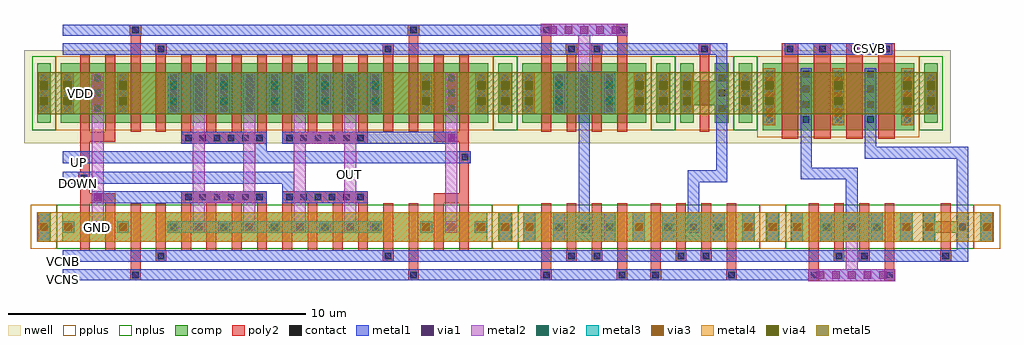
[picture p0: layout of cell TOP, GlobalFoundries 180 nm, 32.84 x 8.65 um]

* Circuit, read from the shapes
.subckt TOP CSVB DOWN GND OUT UP VCNB VCNS VDD
XM1 n1 DOWN GND GND nfet_03v3 w=1u l=0.33u m=2
XM2 n2 VCNS GND GND nfet_03v3 w=1u l=0.33u
XM3 n3 VCNB n2 GND nfet_03v3 w=1u l=0.33u
XM4 n4 n1 n3 GND nfet_03v3 w=1u l=0.33u m=4
XM5 OUT DOWN n3 GND nfet_03v3 w=1u l=0.33u m=4
XM6 n5 VCNB n3 GND nfet_03v3 w=1u l=0.33u
XM7 GND VCNS n5 GND nfet_03v3 w=1u l=0.33u
XM8 n6 UP GND GND nfet_03v3 w=1u l=0.33u m=2
XM9 n7 VCNS GND GND nfet_03v3 w=1u l=0.33u m=2
XM10 n8 VCNB n7 GND nfet_03v3 w=1u l=0.33u m=2
XM11 n9 VCNS GND GND nfet_03v3 w=1u l=0.33u m=2
XM12 n10 VCNB n9 GND nfet_03v3 w=1u l=0.33u m=2
XM13 n11 VCNS GND GND nfet_03v3 w=1u l=0.33u m=2
XM14 VCNS VCNB n11 GND nfet_03v3 w=1u l=0.33u m=2
XM15 VCNB VCNB GND GND nfet_03v3 w=0.4u l=0.33u
XM16 n1 DOWN VDD VDD pfet_03v3 w=2u l=0.33u m=2
XM17 n12 n8 VDD VDD pfet_03v3 w=2u l=0.33u
XM18 n13 n10 n12 VDD pfet_03v3 w=2u l=0.33u
XM19 n4 UP n13 VDD pfet_03v3 w=2u l=0.33u m=4
XM20 OUT n6 n13 VDD pfet_03v3 w=2u l=0.33u m=4
XM21 n14 n10 n13 VDD pfet_03v3 w=2u l=0.33u
XM22 VDD n8 n14 VDD pfet_03v3 w=2u l=0.33u
XM23 n6 UP VDD VDD pfet_03v3 w=2u l=0.33u m=2
XM24 n15 n8 VDD VDD pfet_03v3 w=2u l=0.33u m=2
XM25 n8 n10 n15 VDD pfet_03v3 w=2u l=0.33u m=2
XM26 n10 n10 VDD VDD pfet_03v3 w=0.8u l=0.33u
XM27 VCNS CSVB VDD VDD pfet_03v3 w=2.24u l=0.56u m=2
XM28 VCNB CSVB VDD VDD pfet_03v3 w=2.24u l=0.56u m=2
.ends

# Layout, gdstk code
import gdstk
lib = gdstk.Library(unit=1e-6, precision=5e-09)
def R(c, l, rs):  # rectangles x0, y0, x1, y1
    for r in rs: c.add(gdstk.rectangle(r[:2], r[2:], *l))
def A(c, l, x, y, w, h, nx, ny, dx, dy):  # array of equal rectangles
    R(c, l, [(x+i*dx, y+j*dy, x+i*dx+w, y+j*dy+h) for i in range(nx) for j in range(ny)])
nwell = (21, 0)
comp = (22, 0)
poly2 = (30, 0)
pplus = (31, 0)
nplus = (32, 0)
contact = (33, 0)
metal1 = (34, 0)
via1 = (35, 0)
metal2 = (36, 0)
via2 = (38, 0)
via3 = (40, 0)
via4 = (41, 0)
metal3 = (42, 0)
metal4 = (46, 0)
metal5 = (81, 0)

top = lib.new_cell('TOP')
R(top, nwell, [(-1.7,3.32,22.45,3.56), (22.45,3.32,23.25,3.56), (22.71,3.32,28.69,6.44), (28.69,3.32,29.49,3.56), (-1.7,3.56,-0.36,6.44), (-0.9,3.56,14.36,6.44), (13.82,3.56,15.16,6.44), (14.62,3.56,19.68,6.44), (19.14,3.56,20.48,6.44), (19.94,3.56,22.45,6.44), (21.91,3.56,23.25,6.44), (28.15,3.56,29.49,6.44)])
A(top, comp, 15.1, 0, 0.42, 1, 3, 1, 3.68, 0)
A(top, comp, 13.46, 4, 0.46, 2, 3, 1, 0.8, 0)
A(top, comp, 18.78, 4, 0.46, 2, 3, 1, 0.8, 0)
R(top, comp, [(-1.26,0,-0.8,1), (-0.42,0,0,1), (0,0,13.46,1), (13.46,0,13.88,1), (14.26,0,14.72,1), (15.52,0,18.78,1), (19.2,0,22.46,1), (23.26,0,23.72,1), (24.1,0,24.52,1), (24.52,0,27.78,1), (27.78,0,28.2,1), (28.54,0,28.96,1), (29.67,0,30.09,1), (30.47,0,30.93,1), (28.96,0.3,29.67,0.7), (23.15,3.76,23.61,6), (23.61,3.76,27.79,6), (27.79,3.76,28.25,6), (-1.26,4,-0.8,6), (-0.46,4,0,6), (0,4,13.46,6), (15.52,4,18.78,6), (21.55,4,22.01,6), (22.35,4,22.81,6), (28.59,4,29.05,6), (20.84,4.6,21.55,5.4)])
A(top, poly2, 0.19, -0.3, 0.33, 1.6, 16, 1, 0.85, 0)
A(top, poly2, 15.71, -0.3, 0.33, 1.6, 4, 1, 0.85, 0)
A(top, poly2, 19.39, -0.3, 0.33, 1.6, 4, 1, 0.85, 0)
A(top, poly2, 24.71, -0.3, 0.33, 1.6, 4, 1, 0.85, 0)
A(top, poly2, 23.8, 3.46, 0.56, 2.84, 4, 1, 1.08, 0)
A(top, poly2, 0.19, 3.7, 0.33, 2.6, 16, 1, 0.85, 0)
A(top, poly2, 15.71, 3.7, 0.33, 2.6, 4, 1, 0.85, 0)
A(top, poly2, 23.8, 6.3, 0.56, 0.38, 4, 1, 1.08, 0)
R(top, poly2, [(1.875,-1.29,2.235,-0.93), (11.225,-1.29,11.585,-0.93), (15.695,-1.29,16.055,-0.93), (18.245,-1.29,18.605,-0.93), (19.375,-1.29,19.735,-0.93), (21.925,-1.29,22.285,-0.93), (24.695,-1.29,25.055,-0.93), (27.245,-1.29,27.605,-0.93), (1.89,-0.93,2.22,-0.3), (11.24,-0.93,11.57,-0.3), (15.71,-0.93,16.04,-0.3), (18.26,-0.93,18.59,-0.3), (19.39,-0.93,19.72,-0.3), (21.94,-0.93,22.27,-0.3), (24.71,-0.93,25.04,-0.3), (27.26,-0.93,27.59,-0.3), (2.725,-0.66,3.085,-0.3), (10.375,-0.66,10.735,-0.3), (16.545,-0.66,16.905,-0.3), (17.395,-0.66,17.755,-0.3), (20.225,-0.66,20.585,-0.3), (21.075,-0.66,21.435,-0.3), (25.545,-0.66,25.905,-0.3), (26.395,-0.66,26.755,-0.3), (29.135,-0.66,29.495,-0.3), (29.15,-0.3,29.48,1.3), (0.19,1.3,0.52,3.7), (0.52,1.3,1.37,1.63), (3.59,1.3,6.47,1.7), (6.99,1.3,9.87,1.7), (12.09,1.3,12.94,1.63), (12.94,1.3,13.27,3.7), (0.12,1.95,0.52,2.35), (12.94,2.65,13.34,3.05), (3.59,3.3,6.47,3.7), (6.99,3.3,9.87,3.7), (0.52,3.37,1.37,3.7), (12.09,3.37,12.94,3.7), (21.03,3.7,21.36,6.3), (1.89,6.3,2.22,6.93), (2.715,6.3,3.095,6.68), (10.365,6.3,10.745,6.68), (11.24,6.3,11.57,6.93), (15.71,6.3,16.04,6.93), (16.535,6.3,16.915,6.68), (17.385,6.3,17.765,6.68), (18.26,6.3,18.59,6.93), (21.005,6.3,21.385,6.68), (1.865,6.93,2.245,7.31), (11.215,6.93,11.595,7.31), (15.685,6.93,16.065,7.31), (18.235,6.93,18.615,7.31)])
R(top, pplus, [(-1.47,-0.24,-0.59,1.24), (14.05,-0.24,14.93,1.24), (23.05,-0.24,23.93,1.24), (30.26,-0.24,31.14,1.24), (22.98,3.52,28.42,6.24), (-0.63,3.76,14.09,6.24), (14.89,3.76,19.41,6.24), (20.21,3.76,22.18,6.24)])
R(top, nplus, [(-0.59,-0.24,14.05,1.24), (14.93,-0.24,19.37,1.24), (18.61,-0.24,23.05,1.24), (23.93,-0.24,28.37,1.24), (28.37,-0.24,30.26,1.24), (-1.43,3.76,-0.63,6.24), (14.09,3.76,14.89,6.24), (19.41,3.76,20.21,6.24), (22.18,3.76,22.98,6.24), (28.42,3.76,29.22,6.24)])
A(top, contact, 3.22, 0.39, 0.22, 0.22, 9, 2, 0.85, 3.99)
A(top, contact, 13.56, 0.39, 0.22, 0.22, 3, 1, 0.82, 0)
A(top, contact, 16.19, 0.39, 0.22, 0.22, 3, 2, 0.85, 3.99)
A(top, contact, 19.87, 0.39, 0.22, 0.22, 3, 1, 0.85, 0)
A(top, contact, 22.56, 0.39, 0.22, 0.22, 3, 1, 0.82, 0)
A(top, contact, 25.19, 0.39, 0.22, 0.22, 3, 1, 0.85, 0)
A(top, contact, 3.72, 1.39, 0.22, 0.22, 6, 2, 0.48, 2)
A(top, contact, 7.12, 1.39, 0.22, 0.22, 6, 2, 0.48, 2)
A(top, contact, 23.27, 4.005, 0.22, 0.22, 1, 4, 0, 0.51)
A(top, contact, 24.51, 4.005, 0.22, 0.22, 3, 4, 1.08, 0.51)
A(top, contact, 27.91, 4.005, 0.22, 0.22, 1, 4, 0, 0.51)
A(top, contact, -1.14, 4.38, 0.22, 0.22, 1, 3, 0, 0.51)
A(top, contact, -0.34, 4.38, 0.22, 0.22, 1, 3, 0, 0.51)
A(top, contact, 0.67, 4.38, 0.22, 0.22, 1, 3, 0, 0.51)
A(top, contact, 1.52, 4.38, 0.22, 0.22, 1, 3, 0, 0.51)
A(top, contact, 11.72, 4.38, 0.22, 0.22, 1, 3, 0, 0.51)
A(top, contact, 12.57, 4.38, 0.22, 0.22, 1, 3, 0, 0.51)
A(top, contact, 13.58, 4.38, 0.22, 0.22, 3, 3, 0.8, 0.51)
A(top, contact, 18.9, 4.38, 0.22, 0.22, 3, 3, 0.8, 0.51)
A(top, contact, 21.67, 4.38, 0.22, 0.22, 1, 3, 0, 0.51)
A(top, contact, 22.47, 4.38, 0.22, 0.22, 1, 3, 0, 0.51)
A(top, contact, 28.71, 4.38, 0.22, 0.22, 1, 3, 0, 0.51)
A(top, contact, 3.22, 4.89, 0.22, 0.22, 9, 2, 0.85, 0.51)
A(top, contact, 16.19, 4.89, 0.22, 0.22, 3, 2, 0.85, 0.51)
A(top, contact, 23.97, 6.38, 0.22, 0.22, 4, 1, 1.08, 0)
R(top, contact, [(1.945,-1.22,2.165,-1), (11.295,-1.22,11.515,-1), (15.765,-1.22,15.985,-1), (18.315,-1.22,18.535,-1), (19.445,-1.22,19.665,-1), (21.995,-1.22,22.215,-1), (24.765,-1.22,24.985,-1), (27.315,-1.22,27.535,-1), (2.795,-0.59,3.015,-0.37), (10.445,-0.59,10.665,-0.37), (16.615,-0.59,16.835,-0.37), (17.465,-0.59,17.685,-0.37), (20.295,-0.59,20.515,-0.37), (21.145,-0.59,21.365,-0.37), (25.615,-0.59,25.835,-0.37), (26.465,-0.59,26.685,-0.37), (29.205,-0.59,29.425,-0.37), (-1.14,0.39,-0.92,0.61), (-0.32,0.39,-0.1,0.61), (0.67,0.39,0.89,0.61), (1.52,0.39,1.74,0.61), (11.72,0.39,11.94,0.61), (12.57,0.39,12.79,0.61), (18.88,0.39,19.1,0.61), (27.88,0.39,28.1,0.61), (28.64,0.39,28.86,0.61), (29.77,0.39,29.99,0.61), (30.59,0.39,30.81,0.61), (0.21,2.04,0.43,2.26), (13.03,2.74,13.25,2.96), (2.795,6.38,3.015,6.6), (10.445,6.38,10.665,6.6), (16.615,6.38,16.835,6.6), (17.465,6.38,17.685,6.6), (21.085,6.38,21.305,6.6), (1.945,7.01,2.165,7.23), (11.295,7.01,11.515,7.23), (15.765,7.01,15.985,7.23), (18.315,7.01,18.535,7.23)])
A(top, metal1, 17.8, 0, 0.4, 1, 3, 1, 0.99, 0)
A(top, metal1, 22.47, 0, 0.4, 1, 3, 1, 0.82, 0)
A(top, metal1, 25.1, 0, 0.4, 1, 3, 1, 0.85, 0)
A(top, metal1, 3.13, 0.3, 0.4, 0.4, 9, 1, 0.85, 0)
A(top, metal1, 3.14, 0.31, 0.38, 0.38, 9, 1, 0.85, 0)
A(top, metal1, 13.48, 0.31, 0.38, 0.38, 3, 1, 0.82, 0)
A(top, metal1, 16.11, 0.31, 0.38, 0.38, 3, 1, 0.85, 0)
A(top, metal1, 19.79, 0.31, 0.38, 0.38, 3, 1, 0.85, 0)
A(top, metal1, 22.48, 0.31, 0.38, 0.38, 3, 1, 0.82, 0)
A(top, metal1, 25.11, 0.31, 0.38, 0.38, 3, 1, 0.85, 0)
A(top, metal1, 23.18, 3.925, 0.4, 1.91, 3, 1, 2.32, 0)
A(top, metal1, 24.43, 3.925, 0.38, 1.91, 3, 1, 1.08, 0)
A(top, metal1, 3.13, 4.3, 0.4, 1.4, 9, 1, 0.85, 0)
A(top, metal1, 3.14, 4.3, 0.38, 1.4, 9, 1, 0.85, 0)
A(top, metal1, 13.49, 4.3, 0.4, 1.4, 3, 1, 0.8, 0)
A(top, metal1, 13.5, 4.3, 0.38, 1.4, 3, 1, 0.8, 0)
A(top, metal1, 16.1, 4.3, 0.4, 1.42, 3, 1, 0.85, 0)
A(top, metal1, 16.11, 4.3, 0.38, 1.4, 3, 1, 0.85, 0)
A(top, metal1, 18.81, 4.3, 0.4, 1.4, 3, 1, 0.8, 0)
A(top, metal1, 18.82, 4.3, 0.38, 1.4, 3, 1, 0.8, 0)
A(top, metal1, 23.89, 6.3, 0.38, 0.38, 4, 1, 1.08, 0)
R(top, metal1, [(24.685,-1.32,27.615,-0.92), (-0.4,-1.3,11.215,-0.92), (1.865,-1.3,2.245,-0.92), (11.215,-1.3,11.595,-0.92), (11.595,-1.3,18.235,-0.92), (15.685,-1.3,16.065,-0.92), (18.235,-1.3,18.615,-0.92), (18.615,-1.3,21.915,-0.92), (19.365,-1.3,19.745,-0.92), (21.915,-1.3,22.295,-0.92), (22.295,-1.3,27.235,-0.92), (24.685,-1.3,25.065,-0.92), (27.235,-1.3,27.615,-0.92), (-0.4,-0.67,10.365,-0.29), (2.715,-0.67,3.095,-0.29), (10.365,-0.67,10.745,-0.29), (10.745,-0.67,17.385,-0.29), (16.535,-0.67,16.915,-0.29), (17.385,-0.67,17.765,-0.29), (17.765,-0.67,21.065,-0.29), (20.215,-0.67,20.595,-0.29), (21.065,-0.67,21.445,-0.29), (21.445,-0.67,26.385,-0.29), (25.535,-0.67,25.915,-0.29), (26.385,-0.67,26.765,-0.29), (26.765,-0.67,29.125,-0.29), (29.125,-0.67,29.505,-0.29), (29.505,-0.67,29.69,-0.29), (29.69,-0.67,30.07,0.31), (-1.23,0,-0.83,1), (14.29,0,14.69,1), (15.11,0,15.51,1), (16.1,0,16.5,1), (21.48,0,21.88,1), (27.79,0,28.19,1), (28.55,0,28.95,1), (30.5,0,30.9,1), (-0.41,0.3,-0.01,0.7), (0.58,0.3,0.98,0.7), (1.43,0.3,1.83,0.7), (11.63,0.3,12.03,0.7), (12.48,0.3,12.88,0.7), (13.47,0.3,13.87,0.7), (-1.22,0.31,-0.84,0.69), (-0.4,0.31,-0.02,0.69), (0.59,0.31,0.97,0.69), (1.44,0.31,1.82,0.69), (11.64,0.31,12.02,0.69), (12.49,0.31,12.87,0.69), (18.8,0.31,19.18,0.69), (27.8,0.31,28.18,0.69), (28.56,0.31,28.94,0.69), (29.69,0.31,30.07,0.69), (30.51,0.31,30.89,0.69), (16.96,0.69,17.34,4.3), (20.64,0.69,21.02,2), (29.69,0.69,30.07,2.8), (25.95,1,26.35,2.5), (0.58,1.3,0.98,1.7), (0.58,1.3,3.59,1.7), (3.59,1.3,6.47,1.7), (6.99,1.3,9.87,1.7), (6.99,1.7,7.39,2.35), (-0.4,1.95,7.39,2.35), (0.12,1.95,0.52,2.35), (20.64,2,21.59,2.4), (21.59,2,21.97,4.3), (24.43,2.1,24.81,3.925), (24.81,2.1,25.95,2.5), (-0.4,2.65,12.94,3.05), (6.07,2.65,6.47,3.3), (12.94,2.65,13.34,3.05), (26.59,2.8,30.07,3.2), (26.59,3.2,26.97,3.925), (3.59,3.3,6.47,3.7), (6.99,3.3,9.87,3.7), (9.87,3.3,12.88,3.7), (12.48,3.3,12.88,3.7), (23.19,3.925,23.57,5.835), (27.83,3.925,28.21,5.835), (-1.23,4.3,-0.83,5.7), (-1.22,4.3,-0.84,5.7), (-0.43,4.3,-0.03,5.7), (-0.42,4.3,-0.04,5.7), (0.58,4.3,0.98,5.7), (0.59,4.3,0.97,5.7), (1.43,4.3,1.83,5.7), (1.44,4.3,1.82,5.7), (11.63,4.3,12.03,5.7), (11.64,4.3,12.02,5.7), (12.48,4.3,12.88,5.7), (12.49,4.3,12.87,5.7), (21.59,4.3,21.97,5.7), (22.38,4.3,22.78,5.7), (22.39,4.3,22.77,5.7), (28.62,4.3,29.02,5.7), (28.63,4.3,29.01,5.7), (21.59,5.7,21.97,6.68), (-0.4,6.3,10.365,6.68), (2.715,6.3,3.095,6.68), (10.365,6.3,10.745,6.68), (10.745,6.3,17.385,6.68), (16.535,6.3,16.915,6.68), (17.385,6.3,17.765,6.68), (17.765,6.3,20.745,6.68), (20.745,6.3,21.005,6.68), (21.005,6.3,21.385,6.68), (21.385,6.3,21.59,6.68), (24.27,6.3,27.13,6.68), (-0.4,6.93,11.215,7.31), (1.865,6.93,2.245,7.31), (11.215,6.93,11.595,7.31), (11.595,6.93,18.235,7.31), (15.685,6.93,16.065,7.31), (15.685,6.93,18.615,7.33), (18.235,6.93,18.615,7.31)])
A(top, via1, 24.96, -1.25, 0.26, 0.26, 5, 1, 0.53, 0)
A(top, via1, 3.2, 0.37, 0.26, 0.26, 9, 2, 0.85, 4.235)
A(top, via1, 13.54, 0.37, 0.26, 0.26, 3, 1, 0.82, 0)
A(top, via1, 17.87, 0.37, 0.26, 0.26, 3, 1, 0.99, 0)
A(top, via1, 22.54, 0.37, 0.26, 0.26, 3, 1, 0.82, 0)
A(top, via1, 25.17, 0.37, 0.26, 0.26, 3, 1, 0.85, 0)
A(top, via1, 23.25, 4.22, 0.26, 0.26, 3, 3, 2.32, 0.53)
A(top, via1, 13.56, 4.605, 0.26, 0.26, 3, 2, 0.8, 0.53)
A(top, via1, 18.88, 4.605, 0.26, 0.26, 3, 2, 0.8, 0.53)
A(top, via1, 16.17, 4.615, 0.26, 0.26, 3, 2, 0.85, 0.53)
A(top, via1, 3.2, 5.135, 0.26, 0.26, 9, 1, 0.85, 0)
A(top, via1, 15.96, 7, 0.26, 0.26, 5, 1, 0.53, 0)
R(top, via1, [(-1.16,0.37,-0.9,0.63), (-0.34,0.37,-0.08,0.63), (0.65,0.37,0.91,0.63), (1.5,0.37,1.76,0.63), (11.7,0.37,11.96,0.63), (12.55,0.37,12.81,0.63), (16.17,0.37,16.43,0.63), (21.55,0.37,21.81,0.63), (27.86,0.37,28.12,0.63), (28.62,0.37,28.88,0.63), (30.57,0.37,30.83,0.63), (0.65,1.37,0.91,1.63), (12.55,3.37,12.81,3.63), (-1.16,4.605,-0.9,4.865), (-0.36,4.605,-0.1,4.865), (0.65,4.605,0.91,4.865), (1.5,4.605,1.76,4.865), (11.7,4.605,11.96,4.865), (12.55,4.605,12.81,4.865), (22.45,4.605,22.71,4.865), (28.69,4.605,28.95,4.865), (-1.16,5.135,-0.9,5.395), (-0.36,5.135,-0.1,5.395), (0.65,5.135,0.91,5.395), (1.5,5.135,1.76,5.395), (11.7,5.135,11.96,5.395), (12.55,5.135,12.81,5.395), (22.45,5.135,22.71,5.395), (28.69,5.135,28.95,5.395)])
A(top, metal2, 17.8, 0, 0.4, 1, 3, 1, 0.99, 0)
A(top, metal2, 22.47, 0, 0.4, 1, 3, 1, 0.82, 0)
A(top, metal2, 25.1, 0, 0.4, 1, 3, 1, 0.85, 0)
A(top, metal2, 3.13, 0.3, 0.4, 0.4, 9, 1, 0.85, 0)
A(top, metal2, 3.98, 0.7, 0.4, 3.6, 4, 1, 1.7, 0)
A(top, metal2, 23.18, 3.925, 0.4, 1.91, 3, 1, 2.32, 0)
A(top, metal2, 3.13, 4.3, 0.4, 1.4, 9, 1, 0.85, 0)
A(top, metal2, 13.49, 4.3, 0.4, 1.4, 3, 1, 0.8, 0)
A(top, metal2, 16.1, 4.3, 0.4, 1.42, 3, 1, 0.85, 0)
A(top, metal2, 18.81, 4.3, 0.4, 1.4, 3, 1, 0.8, 0)
R(top, metal2, [(24.685,-1.32,27.615,-0.92), (25.95,-1.3,26.35,0), (-1.23,0,-0.83,1), (14.29,0,14.69,1), (15.11,0,15.51,1), (16.1,0,16.5,1), (21.48,0,21.88,1), (27.79,0,28.19,1), (28.55,0,28.95,1), (30.5,0,30.9,1), (-0.41,0.3,-0.01,0.7), (0.58,0.3,0.98,0.7), (1.43,0.3,1.83,0.7), (11.63,0.3,12.03,0.7), (12.48,0.3,12.88,0.7), (13.47,0.3,13.87,0.7), (0.58,0.7,0.98,4.3), (12.48,0.7,12.88,4.3), (0.58,1.3,0.98,1.7), (4.38,1.3,5.68,1.7), (7.78,3.3,9.08,3.7), (12.48,3.3,12.88,3.7), (-1.23,4.3,-0.83,5.7), (-0.43,4.3,-0.03,5.7), (0.58,4.3,0.98,5.7), (1.43,4.3,1.83,5.7), (11.63,4.3,12.03,5.7), (12.48,4.3,12.88,5.7), (22.38,4.3,22.78,5.7), (28.62,4.3,29.02,5.7), (16.95,5.72,17.35,7.31), (15.685,6.93,18.615,7.33)])
A(top, via2, 1.5, 0.37, 0.26, 0.26, 7, 2, 1.7, 4.235)
A(top, via2, 13.54, 0.37, 0.26, 0.26, 3, 1, 0.82, 0)
A(top, via2, 17.87, 0.37, 0.26, 0.26, 3, 1, 0.99, 0)
A(top, via2, 22.54, 0.37, 0.26, 0.26, 3, 1, 0.82, 0)
A(top, via2, 23.25, 4.22, 0.26, 0.26, 3, 3, 2.32, 0.53)
A(top, via2, 13.56, 4.605, 0.26, 0.26, 3, 2, 0.8, 0.53)
A(top, via2, 18.88, 4.605, 0.26, 0.26, 3, 2, 0.8, 0.53)
A(top, via2, 1.5, 5.135, 0.26, 0.26, 7, 1, 1.7, 0)
R(top, via2, [(-1.16,0.37,-0.9,0.63), (-0.34,0.37,-0.08,0.63), (16.17,0.37,16.43,0.63), (21.55,0.37,21.81,0.63), (25.17,0.37,25.43,0.63), (26.87,0.37,27.13,0.63), (27.86,0.37,28.12,0.63), (28.62,0.37,28.88,0.63), (30.57,0.37,30.83,0.63), (-1.16,4.605,-0.9,4.865), (-0.36,4.605,-0.1,4.865), (22.45,4.605,22.71,4.865), (28.69,4.605,28.95,4.865), (16.17,4.615,16.43,4.875), (17.87,4.615,18.13,4.875), (-1.16,5.135,-0.9,5.395), (-0.36,5.135,-0.1,5.395), (22.45,5.135,22.71,5.395), (28.69,5.135,28.95,5.395), (16.17,5.145,16.43,5.405), (17.87,5.145,18.13,5.405)])
A(top, via3, 13.54, 0.37, 0.26, 0.26, 3, 1, 0.82, 0)
A(top, via3, 22.54, 0.37, 0.26, 0.26, 3, 1, 0.82, 0)
A(top, via3, 23.25, 4.22, 0.26, 0.26, 3, 3, 2.32, 0.53)
A(top, via3, 13.56, 4.605, 0.26, 0.26, 3, 2, 0.8, 0.53)
A(top, via3, 18.88, 4.605, 0.26, 0.26, 3, 2, 0.8, 0.53)
R(top, via3, [(-1.16,0.37,-0.9,0.63), (-0.34,0.37,-0.08,0.63), (1.5,0.37,1.76,0.63), (11.7,0.37,11.96,0.63), (18.86,0.37,19.12,0.63), (27.86,0.37,28.12,0.63), (28.62,0.37,28.88,0.63), (30.57,0.37,30.83,0.63), (-1.16,4.605,-0.9,4.865), (-0.36,4.605,-0.1,4.865), (1.5,4.605,1.76,4.865), (11.7,4.605,11.96,4.865), (22.45,4.605,22.71,4.865), (28.69,4.605,28.95,4.865), (-1.16,5.135,-0.9,5.395), (-0.36,5.135,-0.1,5.395), (1.5,5.135,1.76,5.395), (11.7,5.135,11.96,5.395), (22.45,5.135,22.71,5.395), (28.69,5.135,28.95,5.395)])
A(top, via4, 13.56, 4.605, 0.26, 0.26, 3, 2, 0.8, 0.53)
A(top, via4, 18.88, 4.605, 0.26, 0.26, 3, 2, 0.8, 0.53)
A(top, via4, 23.25, 4.605, 0.26, 0.26, 3, 2, 2.32, 0.53)
R(top, via4, [(-1.16,4.605,-0.9,4.865), (-0.36,4.605,-0.1,4.865), (1.5,4.605,1.76,4.865), (11.7,4.605,11.96,4.865), (22.45,4.605,22.71,4.865), (28.69,4.605,28.95,4.865), (-1.16,5.135,-0.9,5.395), (-0.36,5.135,-0.1,5.395), (1.5,5.135,1.76,5.395), (11.7,5.135,11.96,5.395), (22.45,5.135,22.71,5.395), (28.69,5.135,28.95,5.395)])
A(top, metal3, 17.8, 0, 0.4, 1, 3, 1, 0.99, 0)
A(top, metal3, 22.47, 0, 0.4, 1, 3, 1, 0.82, 0)
A(top, metal3, 1.43, 0.3, 0.4, 0.4, 7, 1, 1.7, 0)
A(top, metal3, 23.18, 3.925, 0.4, 1.91, 3, 1, 2.32, 0)
A(top, metal3, 1.43, 4.3, 0.4, 1.4, 7, 1, 1.7, 0)
A(top, metal3, 13.49, 4.3, 0.4, 1.4, 3, 1, 0.8, 0)
A(top, metal3, 18.81, 4.3, 0.4, 1.4, 3, 1, 0.8, 0)
R(top, metal3, [(-1.23,0,-0.83,1), (14.29,0,14.69,1), (15.11,0,15.51,1), (16.1,0,16.5,1), (16.5,0,17.8,1), (20.18,0,21.48,1), (21.48,0,21.88,1), (25.1,0,25.5,1), (25.5,0,26.8,1), (26.8,0,27.2,1), (27.79,0,28.19,1), (28.55,0,28.95,1), (30.5,0,30.9,1), (-0.41,0.3,-0.01,0.7), (3.13,0.3,10.33,0.7), (13.47,0.3,13.87,0.7), (-1.23,4.3,-0.83,5.7), (-0.43,4.3,-0.03,5.7), (3.13,4.3,10.33,5.7), (16.1,4.3,16.5,5.72), (16.5,4.3,17.8,5.72), (17.8,4.3,18.2,5.72), (22.38,4.3,22.78,5.7), (28.62,4.3,29.02,5.7)])
A(top, metal4, 15.11, 0, 0.4, 1, 3, 1, 3.68, 0)
A(top, metal4, 23.18, 3.925, 0.4, 1.91, 3, 1, 2.32, 0)
A(top, metal4, 13.49, 4.3, 0.4, 1.4, 3, 1, 0.8, 0)
A(top, metal4, 18.81, 4.3, 0.4, 1.4, 3, 1, 0.8, 0)
A(top, metal4, 23.18, 4.3, 0.4, 1.4, 3, 1, 2.32, 0)
R(top, metal4, [(-1.23,0,-0.83,1), (-0.83,0,-0.76,1), (-0.76,0,-0.41,1), (-0.41,0,13.87,1), (13.87,0,14.22,1), (14.22,0,18.79,1), (14.29,0,14.69,1), (19.19,0,23.29,1), (23.29,0,23.69,1), (23.69,0,27.79,1), (24.11,0,24.51,1), (27.79,0,28.19,1), (28.19,0,30.5,1), (28.55,0,28.95,1), (30.5,0,30.9,1), (-0.41,0.3,-0.01,0.7), (1.43,0.3,1.83,0.7), (11.63,0.3,12.03,0.7), (13.47,0.3,13.87,0.7), (-1.23,4.3,-0.83,5.7), (-0.43,4.3,-0.03,5.7), (1.43,4.3,1.83,5.7), (11.63,4.3,12.03,5.7), (22.38,4.3,22.78,5.7), (28.62,4.3,29.02,5.7)])
A(top, metal5, -1.23, 4.3, 0.4, 1.4, 3, 1, 0.4, 0)
A(top, metal5, 13.49, 4.3, 0.4, 1.4, 3, 1, 0.4, 0)
A(top, metal5, 18.81, 4.3, 0.4, 1.4, 3, 1, 0.8, 0)
A(top, metal5, 23.18, 4.3, 0.4, 1.4, 3, 1, 2.32, 0)
R(top, metal5, [(-0.43,4.3,13.89,5.7), (1.43,4.3,1.83,5.7), (11.63,4.3,12.03,5.7), (14.69,4.3,20.15,5.7), (15.09,4.3,15.49,5.7), (20.15,4.3,22.38,5.7), (22.38,4.3,22.78,5.7), (22.78,4.3,28.62,5.7), (28.62,4.3,29.02,5.7)])
top.add(gdstk.Label('CSVB', (26.735,6.515), layer=34, texttype=10))
top.add(gdstk.Label('UP', (0.13,2.66), layer=34, texttype=10))
top.add(gdstk.Label('DOWN', (0.13,1.96), layer=34, texttype=10))
top.add(gdstk.Label('VCNB', (-0.38,-0.65), layer=34, texttype=10))
top.add(gdstk.Label('VCNS', (-0.38,-1.28), layer=34, texttype=10))
top.add(gdstk.Label('OUT', (9.25,2.25), layer=36, texttype=10))
top.add(gdstk.Label('GND', (0.77,0.495), layer=46, texttype=10))
top.add(gdstk.Label('VDD', (0.2,4.975), layer=81, texttype=10))

lib.write_gds('TOP.gds')
